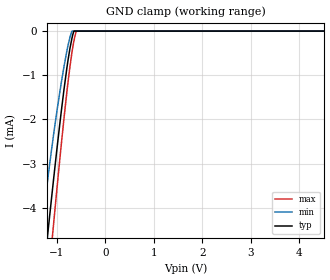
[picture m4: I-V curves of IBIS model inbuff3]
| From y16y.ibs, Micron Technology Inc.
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|   MODEL INBUFF3
[Model]   inbuff3
Model_type   Input
Vinl = 800.000mV
Vinh = 2.000V
|   typ   min   max
C_comp   1.860pF   1.600pF   2.260pF
[Voltage Range]   3.300V   3.000V   3.600V
| Junction Temperature (Ambient temp is 25C typ, 70C min, 0C max)
[Temperature Range]   40.0   85.0   0.0
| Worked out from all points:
|   GND clamp passes 1 mA (typ) near -0.81 V on its own axis
[GND Clamp]
|   Voltage   I(typ)   I(min)   I(max)
-3.3V     -236mA     -244.2mA   -232.4mA
-1.31V    -5.886mA   -4.614mA   -7.257mA
-1.19V    -4.608mA   -3.37mA    -5.809mA
-1.15V    -4.191mA   -3.021mA   -5.332mA
-1.09V    -3.575mA   -2.521mA   -4.623mA
-1.07V    -3.373mA   -2.361mA   -4.389mA
-850mV    -1.289mA   -778.4uA   -1.934mA
-770mV    -654.4uA   -321.1uA   -1.148mA
-690mV    -162.6uA   0A         -484.6uA
-650mV    0A         0A         -228.2uA
-600mV    0A         0A         0A
6.6V      0A         0A         0A
[POWER Clamp]
|  There are no power clamp diodes on this input
|   Voltage   I(typ)   I(min)   I(max)
-3.3V     0A         0A         0A
0V        0A         0A         0A
6.6V      0A         0A         0A
